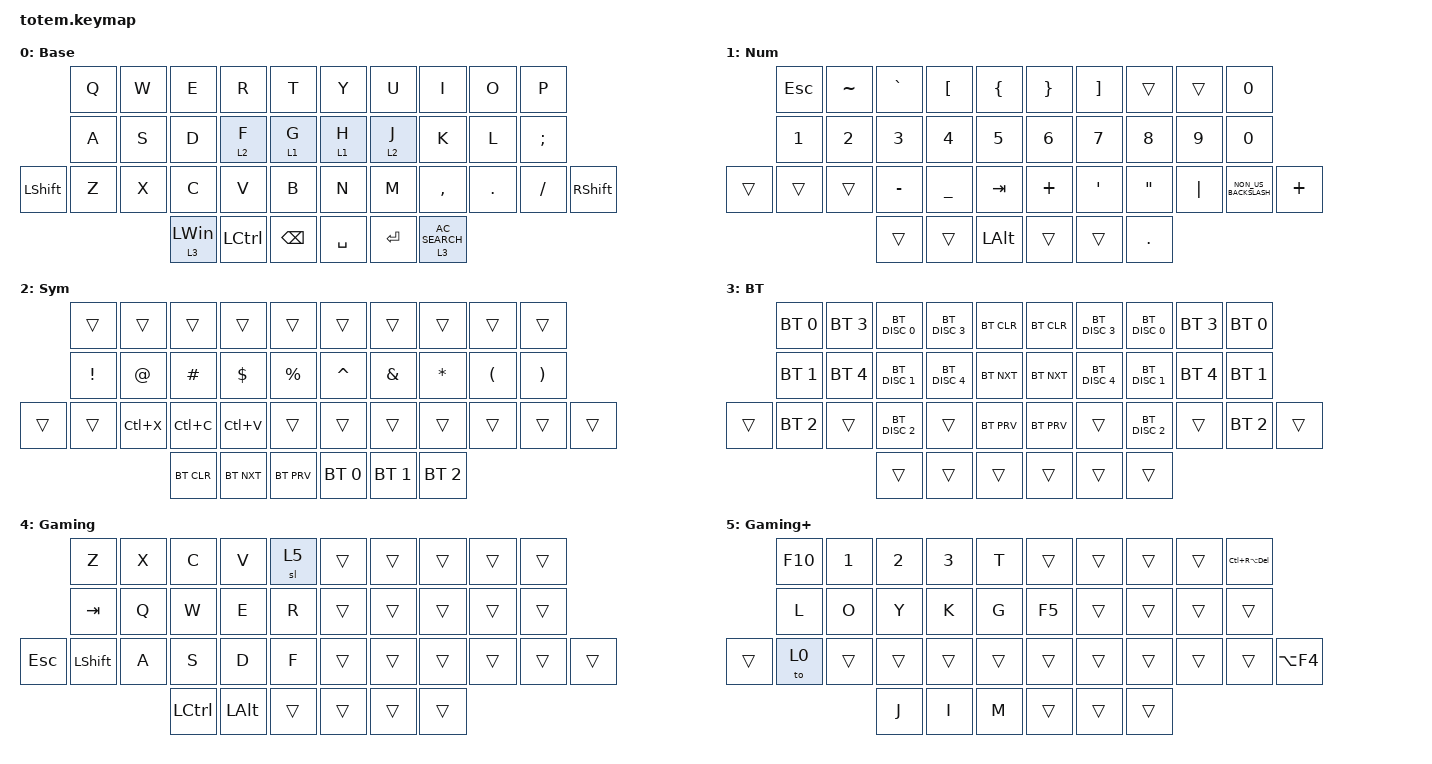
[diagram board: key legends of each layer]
//
//                                                        ▀▀▀▀▀     ▀▀▀▀▀          ▀▀█▀▀
//                                                        ▄▀▀▀▄  ▄  ▄▀▀▀▄  ▄  ▄▀▀▀▄  █  ▄▀▀▀▄
//                                                        █   █  █  █   █  █  █   █  █  █   █
//                                                         ▀▀▀   █   ▀▀▀   █   ▀▀▀   ▀   ▀▀▀
//                                                               █      ▄▄▄█▄▄▄    █   █  
//                                                               ▀      █  █  █     █▄█
//                                                             ▀▀▀▀▀    █  █  █      ▀
//                                                                      ▀  ▀  ▀
//
// ▄▄▄▄▄▄▄▄▄▄▄▄▄▄▄▄▄▄▄▄▄▄▄▄▄▄▄▄▄▄▄▄▄▄▄▄▄▄▄▄▄▄▄▄▄▄▄▄▄▄▄▄▄▄▄▄▄▄▄▄▄▄▄▄▄▄▄▄▄▄▄▄▄▄▄▄▄▄▄▄▄▄▄▄▄▄▄▄▄▄▄▄▄▄▄▄▄▄▄▄▄▄▄▄▄▄▄▄▄▄▄▄▄▄▄▄▄▄▄▄▄▄▄▄▄▄▄▄▄▄▄▄▄▄▄▄▄▄▄▄▄▄▄▄▄▄▄▄▄

#include <behaviors.dtsi>
#include <dt-bindings/zmk/bt.h>
#include <dt-bindings/zmk/keys.h>

#define Base        0
#define Media       1
#define Nav         2
#define Mouse       3
#define Sym         4
#define Num         5
#define Fun         6
#define Button      7
#define Game        8
#define Gameplus    9

&mt {
    quick-tap-ms = <100>;
    global-quick-tap;
    flavor = "tap-preferred";
    tapping-term-ms = <170>;
};

&lt {
    tapping-term-ms = <240>;
    flavor = "balanced";
    quick-tap-ms = <150>;
};

/ {
    behaviors {
        hm: homerow_mods {
            compatible = "zmk,behavior-hold-tap";
            label = "HOMEROW_MODS";
            #binding-cells = <2>;
            flavor = "tap-preferred";
            tapping-term-ms = <200>;
            quick-tap-ms = <125>;
            global-quick-tap;
            bindings = <&kp>, <&kp>;
        };
    };

    combos {
        compatible = "zmk,combos";
    };

    keymap {
        compatible = "zmk,keymap";

        Base {
            label = "Base";
            bindings = <
                &kp Q  &kp W  &kp E           &kp R             &kp T            &kp Y      &kp U      &kp I              &kp O    &kp P
                &kp A  &kp S  &kp D           &lt 2 F           &lt 1 G          &lt 1 H    &lt 2 J    &kp K              &kp L    &kp SEMICOLON
&kp LEFT_SHIFT  &kp Z  &kp X  &kp C           &kp V             &kp B            &kp N      &kp M      &kp COMMA          &kp DOT  &kp SLASH      &kp RIGHT_SHIFT
                              &lt 3 LEFT_WIN  &kp LEFT_CONTROL  &kp BACKSPACE    &kp SPACE  &kp ENTER  &lt 3 C_AC_SEARCH
            >;
        };

        Num {
            label = "Num";
            bindings = <
        &kp ESCAPE    &kp TILDE     &kp GRAVE     &kp LEFT_BRACKET  &kp LBRC        &kp RBRC      &kp RIGHT_BRACKET  &trans             &trans    &kp NUMBER_0
        &kp NUMBER_1  &kp NUMBER_2  &kp NUMBER_3  &kp NUMBER_4      &kp N5          &kp NUMBER_6  &kp N7             &kp N8             &kp N9    &kp N0
&trans  &trans        &trans        &kp MINUS     &kp UNDERSCORE    &kp TAB         &kp PLUS      &kp SQT            &kp DOUBLE_QUOTES  &kp PIPE  &kp NON_US_BACKSLASH  &kp PLUS
                                    &trans        &trans            &kp LEFT_ALT    &trans        &trans             &kp DOT
            >;
        };

        Sym {
            label = "Sym";
            bindings = <
        &trans           &trans       &trans      &trans      &trans         &trans        &trans         &trans        &trans                &trans
        &kp EXCLAMATION  &kp AT_SIGN  &kp HASH    &kp DOLLAR  &kp PERCENT    &kp CARET     &kp AMPERSAND  &kp ASTERISK  &kp LEFT_PARENTHESIS  &kp RIGHT_PARENTHESIS
&trans  &trans           &kp LC(X)    &kp LC(C)   &kp LC(V)   &trans         &trans        &trans         &trans        &trans                &trans                 &trans
                                      &bt BT_CLR  &bt BT_NXT  &bt BT_PRV     &bt BT_SEL 0  &bt BT_SEL 1   &bt BT_SEL 2
            >;
        };

        BT {
            label = "BT";
            bindings = <
        &bt BT_SEL 0  &bt BT_SEL 3  &bt BT_DISC 0  &bt BT_DISC 3  &bt BT_CLR    &bt BT_CLR  &bt BT_DISC 3  &bt BT_DISC 0  &bt BT_SEL 3  &bt BT_SEL 0
        &bt BT_SEL 1  &bt BT_SEL 4  &bt BT_DISC 1  &bt BT_DISC 4  &bt BT_NXT    &bt BT_NXT  &bt BT_DISC 4  &bt BT_DISC 1  &bt BT_SEL 4  &bt BT_SEL 1
&trans  &bt BT_SEL 2  &trans        &bt BT_DISC 2  &trans         &bt BT_PRV    &bt BT_PRV  &trans         &bt BT_DISC 2  &trans        &bt BT_SEL 2  &trans
                                    &trans         &trans         &trans        &trans      &trans         &trans
            >;
        };

        Gaming {
            bindings = <
            &kp Z           &kp X  &kp C      &kp V         &sl 5     &trans  &trans  &trans  &trans  &trans
            &kp TAB         &kp Q  &kp W      &kp E         &kp R     &trans  &trans  &trans  &trans  &trans
&kp ESCAPE  &kp LEFT_SHIFT  &kp A  &kp S      &kp D         &kp F     &trans  &trans  &trans  &trans  &trans  &trans
                                   &kp LCTRL  &kp LEFT_ALT  &trans    &trans  &trans  &trans
            >;

            label = "Gaming";
        };

        Gaming+ {
            bindings = <
        &kp F10  &kp NUMBER_1  &kp NUMBER_2  &kp NUMBER_3  &kp T     &trans  &trans  &trans  &trans  &kp LC(RA(DEL))
        &kp L    &kp O         &kp Y         &kp K         &kp G     &kp F5  &trans  &trans  &trans  &trans
&trans  &to 0    &trans        &trans        &trans        &trans    &trans  &trans  &trans  &trans  &trans           &kp LA(F4)
                               &kp J         &kp I         &kp M     &trans  &trans  &trans
            >;

            label = "Gaming+";
        };
    };
};
